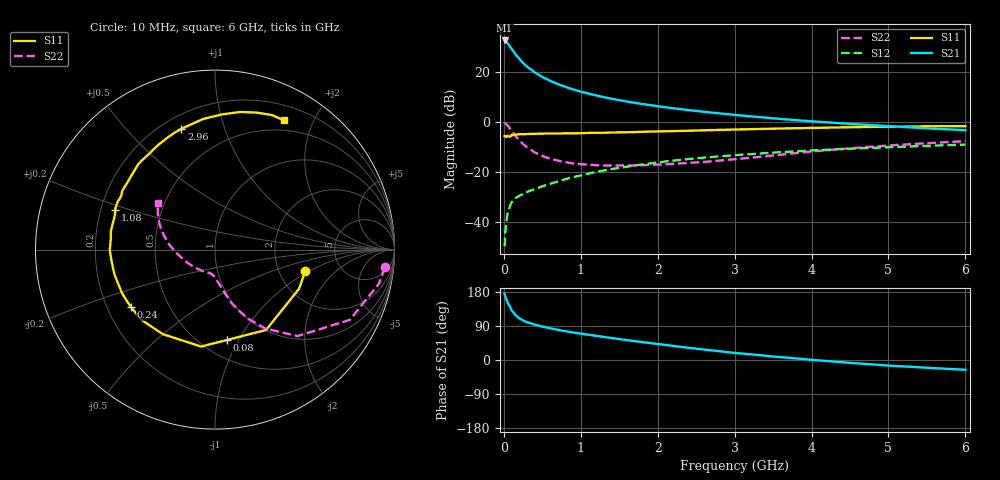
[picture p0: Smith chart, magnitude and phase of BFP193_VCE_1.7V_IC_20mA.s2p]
! Infineon Technologies  Discrete & RF Semiconductors
! BFP193
! VCE = 1.7 V,  IC =  20 mA
! Common Emitter S-Parameters:  Jan 2016
# GHz  S  MA  R  50
!  f  S11  S21  S12  S22
! GHz  MAG  ANG  MAG  ANG  MAG  ANG  MAG  ANG
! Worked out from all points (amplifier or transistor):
!   210 points, 10 MHz to 6 GHz, reference 50 ohm
!   highest |S21| = 32.4 dB at 10 MHz (marker M1)
!   |S21| within 3 dB of that: start of sweep to 92.59 MHz
!   unconditionally stable (mu >= 1): 714.1 MHz to 3.808 GHz
!   at 185 MHz: K = 0.50, MSG = 27.7 dB, |S12| = -29.8 dB
!   at 1.52 GHz: K = 1.08, MAG = 11.7 dB, |S12| = -18.3 dB
!   at 6 GHz: K = 0.94, MSG = 2.9 dB, |S12| = -9.1 dB
!   S11 on the Smith chart (normalised r, x): 10 MHz: 2.81, -0.91; 80 MHz: 0.66, -0.90; 240 MHz: 0.30, -0.28; 1.08 GHz: 0.26, +0.18; 2.96 GHz: 0.28, +0.72; 6 GHz: 0.37, +1.61
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0.01  0.5173 -13.3  41.85 174.1  0.0033 83.8  0.9515 -6.0
0.02  0.5166 -25.1  40.63 166.8  0.0064 83.2  0.9333 -11.7
0.05  0.5303 -57.6  36.62 150.9  0.0151 68.0  0.8474 -27.5
0.08  0.5078 -82.4  31.41 140.2  0.0207 59.8  0.7288 -37.7
0.1  0.5457 -98.1  28.71 131.2  0.0246 56.4  0.6662 -46.3
0.15  0.5538 -121.8  22.23 118.3  0.0299 50.7  0.5223 -57.4
0.2  0.5677 -136.7  17.95 110.1  0.0334 49.1  0.4266 -64.4
0.24  0.5665 -145.5  15.41 105.5  0.036 48.6  0.3704 -68.2
0.3  0.5721 -155.3  12.59 99.7  0.0397 49.3  0.3106 -72.8
0.4  0.5772 -166.3  9.688 93.3  0.0453 51.2  0.2456 -77.6
0.5  0.58 -173.6  7.801 88.1  0.0515 53.3  0.2076 -81.1
0.6  0.5866 -179.8  6.557 83.6  0.0576 54.8  0.1841 -84.3
0.7  0.5835 174.2  5.66 79.5  0.0642 55.7  0.1679 -87.0
1.02  0.5921 160.3  3.918 69.0  0.0865 56.6  0.1417 -94.9
1.08  0.5987 158.3  3.711 67.2  0.0911 56.5  0.1396 -96.8
1.4  0.6122 147.4  2.872 58.1  0.1135 55.1  0.1342 -105.7
2.02  0.6427 129.0  2.02 41.7  0.156 49.4  0.1398 -126.2
2.96  0.6976 105.6  1.391 19.6  0.2136 38.9  0.1767 -158.5
3.1  0.7046 102.8  1.328 17.0  0.2211 37.2  0.1847 -163.0
4.1  0.7589 85.3  0.997 -1.1  0.2727 25.8  0.2633 171.8
5.1  0.8004 71.8  0.801 -15.8  0.315 14.9  0.3437 154.4
6  0.8165 61.8  0.681 -25.7  0.3508 5.3  0.4103 141.2
